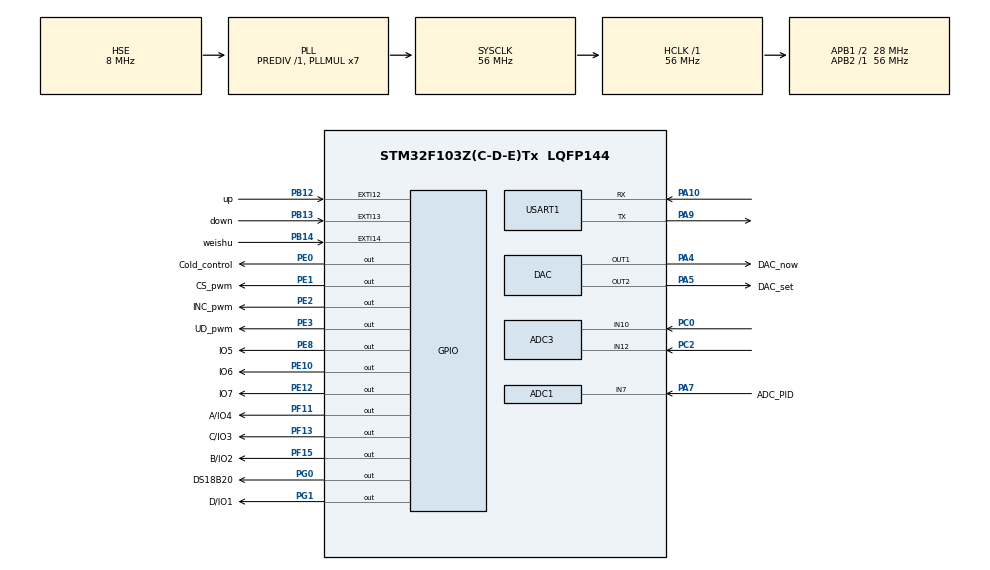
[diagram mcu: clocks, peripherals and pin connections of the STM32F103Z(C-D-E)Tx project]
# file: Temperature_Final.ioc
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ADC1.Channel-16\#ChannelRegularConversion=ADC_CHANNEL_7
ADC1.Channel-17\#ChannelInjectedConversion=ADC_CHANNEL_7
ADC1.ContinuousConvMode=ENABLE
ADC1.DataAlign=ADC_DATAALIGN_RIGHT
ADC1.DiscontinuousConvMode=DISABLE
ADC1.EnableAnalogWatchDog=false
ADC1.EnableRegularConversion=ENABLE
ADC1.ExternalTrigConv=ADC_SOFTWARE_START
ADC1.InjNumberOfConversion=0
ADC1.InjectedOffset-17\#ChannelInjectedConversion=0
ADC1.NbrOfConversion=1
ADC1.NbrOfConversionFlag=1
ADC1.Rank-16\#ChannelRegularConversion=1
ADC1.Rank-17\#ChannelInjectedConversion=1
ADC1.SamplingTime-16\#ChannelRegularConversion=ADC_SAMPLETIME_1CYCLE_5
ADC1.SamplingTime-17\#ChannelInjectedConversion=ADC_SAMPLETIME_7CYCLES_5
ADC1.ScanConvMode=ADC_SCAN_DISABLE
ADC1.master=1
ADC3.Channel-0\#ChannelRegularConversion=ADC_CHANNEL_10
ADC3.Channel-1\#ChannelRegularConversion=ADC_CHANNEL_12
ADC3.ContinuousConvMode=ENABLE
ADC3.DataAlign=ADC_DATAALIGN_RIGHT
ADC3.DiscontinuousConvMode=DISABLE
ADC3.EnableAnalogWatchDog=false
ADC3.EnableRegularConversion=ENABLE
ADC3.ExternalTrigConv=ADC_SOFTWARE_START
ADC3.InjNumberOfConversion=0
ADC3.NbrOfConversion=2
ADC3.NbrOfConversionFlag=1
ADC3.Rank-0\#ChannelRegularConversion=1
ADC3.Rank-1\#ChannelRegularConversion=2
ADC3.SamplingTime-0\#ChannelRegularConversion=ADC_SAMPLETIME_7CYCLES_5
ADC3.SamplingTime-1\#ChannelRegularConversion=ADC_SAMPLETIME_7CYCLES_5
ADC3.ScanConvMode=ADC_SCAN_ENABLE
Dma.ADC1.2.Direction=DMA_PERIPH_TO_MEMORY
Dma.ADC1.2.Instance=DMA1_Channel1
Dma.ADC1.2.MemDataAlignment=DMA_MDATAALIGN_WORD
Dma.ADC1.2.MemInc=DMA_MINC_ENABLE
Dma.ADC1.2.Mode=DMA_CIRCULAR
Dma.ADC1.2.PeriphDataAlignment=DMA_PDATAALIGN_WORD
Dma.ADC1.2.PeriphInc=DMA_PINC_DISABLE
Dma.ADC1.2.Priority=DMA_PRIORITY_LOW
Dma.ADC3.3.Direction=DMA_PERIPH_TO_MEMORY
Dma.ADC3.3.Instance=DMA2_Channel5
Dma.ADC3.3.MemDataAlignment=DMA_MDATAALIGN_WORD
Dma.ADC3.3.MemInc=DMA_MINC_ENABLE
Dma.ADC3.3.Mode=DMA_CIRCULAR
Dma.ADC3.3.PeriphDataAlignment=DMA_PDATAALIGN_WORD
Dma.ADC3.3.PeriphInc=DMA_PINC_DISABLE
Dma.ADC3.3.Priority=DMA_PRIORITY_LOW
Dma.Request0=USART1_RX
Dma.Request1=USART1_TX
Dma.Request2=ADC1
Dma.Request3=ADC3
Dma.USART1_RX.0.Direction=DMA_PERIPH_TO_MEMORY
Dma.USART1_RX.0.Instance=DMA1_Channel5
Dma.USART1_RX.0.MemDataAlignment=DMA_MDATAALIGN_BYTE
Dma.USART1_RX.0.MemInc=DMA_MINC_ENABLE
Dma.USART1_RX.0.Mode=DMA_NORMAL
Dma.USART1_RX.0.PeriphDataAlignment=DMA_PDATAALIGN_BYTE
Dma.USART1_RX.0.PeriphInc=DMA_PINC_DISABLE
Dma.USART1_RX.0.Priority=DMA_PRIORITY_LOW
Dma.USART1_TX.1.Direction=DMA_MEMORY_TO_PERIPH
Dma.USART1_TX.1.Instance=DMA1_Channel4
Dma.USART1_TX.1.MemDataAlignment=DMA_MDATAALIGN_BYTE
Dma.USART1_TX.1.MemInc=DMA_MINC_ENABLE
Dma.USART1_TX.1.Mode=DMA_NORMAL
Dma.USART1_TX.1.PeriphDataAlignment=DMA_PDATAALIGN_BYTE
Dma.USART1_TX.1.PeriphInc=DMA_PINC_DISABLE
Dma.USART1_TX.1.Priority=DMA_PRIORITY_LOW
Mcu.Family=STM32F1
Mcu.Name=STM32F103Z(C-D-E)Tx
Mcu.Package=LQFP144
NVIC.DMA1_Channel1_IRQn=true\:0\:0\:false\:false\:true\:false
NVIC.DMA1_Channel4_IRQn=true\:1\:0\:true\:true\:true\:3\:false
NVIC.DMA1_Channel5_IRQn=true\:1\:0\:true\:true\:true\:1\:false
NVIC.DMA2_Channel4_5_IRQn=true\:0\:0\:false\:false\:true\:false
NVIC.EXTI15_10_IRQn=true\:0\:0\:false\:false\:true\:true
NVIC.PriorityGroup=NVIC_PRIORITYGROUP_4
NVIC.TIM2_IRQn=true\:0\:0\:true\:true\:true\:4\:true
NVIC.USART1_IRQn=true\:1\:0\:true\:true\:true\:2\:true
OSC_IN.Mode=HSE-External-Oscillator
OSC_IN.Signal=RCC_OSC_IN
OSC_OUT.Mode=HSE-External-Oscillator
OSC_OUT.Signal=RCC_OSC_OUT
PA10.Mode=Asynchronous
PA10.Signal=USART1_RX
PA13.Mode=Serial_Wire
PA13.Signal=SYS_JTMS-SWDIO
PA14.Mode=Serial_Wire
PA14.Signal=SYS_JTCK-SWCLK
PA4.GPIO_Label=DAC_now
PA4.Signal=COMP_DAC1_group
PA5.GPIO_Label=DAC_set
PA5.Signal=COMP_DAC2_group
PA7.GPIO_Label=ADC_PID
PA7.Signal=ADCx_IN7
PA9.Mode=Asynchronous
PA9.Signal=USART1_TX
PB12.GPIO_Label=up
PB12.Signal=GPXTI12
PB13.GPIO_Label=down
PB13.Signal=GPXTI13
PB14.GPIO_Label=weishu
PB14.Signal=GPXTI14
PC0.Signal=ADCx_IN10
PC2.Signal=ADCx_IN12
PE0.GPIO_Label=Cold_control
PE0.Signal=GPIO_Output
PE1.GPIO_Label=CS_pwm
PE1.Signal=GPIO_Output
PE10.GPIO_Label=IO6
PE10.Signal=GPIO_Output
PE12.GPIO_Label=IO7
PE12.Signal=GPIO_Output
PE2.GPIO_Label=INC_pwm
PE2.Signal=GPIO_Output
PE3.GPIO_Label=UD_pwm
PE3.Signal=GPIO_Output
PE8.GPIO_Label=IO5
PE8.Signal=GPIO_Output
PF11.GPIO_Label=A/IO4
PF11.Signal=GPIO_Output
PF13.GPIO_Label=C/IO3
PF13.Signal=GPIO_Output
PF15.GPIO_Label=B/IO2
PF15.Signal=GPIO_Output
PG0.GPIO_Label=DS18B20
PG0.Signal=GPIO_Output
PG1.GPIO_Label=D/IO1
PG1.Signal=GPIO_Output
ProjectManager.HeapSize=0x200
ProjectManager.StackSize=0x400
ProjectManager.TargetToolchain=MDK-ARM V4
RCC.ADCPresc=RCC_ADCPCLK2_DIV4
RCC.AHBFreq_Value=56000000
RCC.APB1CLKDivider=RCC_HCLK_DIV2
RCC.APB1Freq_Value=28000000
RCC.APB1TimFreq_Value=56000000
RCC.APB2Freq_Value=56000000
RCC.APB2TimFreq_Value=56000000
RCC.HCLKFreq_Value=56000000
RCC.PLLMUL=RCC_PLL_MUL7
RCC.PLLSourceVirtual=RCC_PLLSOURCE_HSE
RCC.SYSCLKFreq_VALUE=56000000
RCC.SYSCLKSource=RCC_SYSCLKSOURCE_PLLCLK
RCC.USBFreq_Value=56000000
SH.ADCx_IN10.0=ADC3_IN10,IN10
SH.ADCx_IN12.0=ADC3_IN12,IN12
SH.ADCx_IN7.0=ADC1_IN7,IN7
SH.COMP_DAC1_group.0=DAC_OUT1,DAC_OUT1
SH.COMP_DAC2_group.0=DAC_OUT2,DAC_OUT2
TIM2.Period=5000
TIM2.Prescaler=5600-1
USART1.VirtualMode=VM_ASYNC
VP_TIM2_VS_ClockSourceINT.Mode=Internal
board=Temperature_Final

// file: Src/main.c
/**
  ******************************************************************************
  * File Name          : main.c
  * Description        : Main program body
  ******************************************************************************
  ** This notice applies to any and all portions of this file
  * that are not between comment pairs USER CODE BEGIN and
  * USER CODE END. Other portions of this file, whether
  * inserted by the user or by software development tools
  * are owned by their respective copyright owners.
  *
  * COPYRIGHT(c) 2018 STMicroelectronics
  *
  * Redistribution and use in source and binary forms, with or without modification,
  * are permitted provided that the following conditions are met:
  *   1. Redistributions of source code must retain the above copyright notice,
  *      this list of conditions and the following disclaimer.
  *   2. Redistributions in binary form must reproduce the above copyright notice,
  *      this list of conditions and the following disclaimer in the documentation
  *      and/or other materials provided with the distribution.
  *   3. Neither the name of STMicroelectronics nor the names of its contributors
  *      may be used to endorse or promote products derived from this software
  *      without specific prior written permission.
  *
  * THIS SOFTWARE IS PROVIDED BY THE COPYRIGHT HOLDERS AND CONTRIBUTORS "AS IS"
  * AND ANY EXPRESS OR IMPLIED WARRANTIES, INCLUDING, BUT NOT LIMITED TO, THE
  * IMPLIED WARRANTIES OF MERCHANTABILITY AND FITNESS FOR A PARTICULAR PURPOSE ARE
  * DISCLAIMED. IN NO EVENT SHALL THE COPYRIGHT HOLDER OR CONTRIBUTORS BE LIABLE
  * FOR ANY DIRECT, INDIRECT, INCIDENTAL, SPECIAL, EXEMPLARY, OR CONSEQUENTIAL
  * DAMAGES (INCLUDING, BUT NOT LIMITED TO, PROCUREMENT OF SUBSTITUTE GOODS OR
  * SERVICES; LOSS OF USE, DATA, OR PROFITS; OR BUSINESS INTERRUPTION) HOWEVER
  * CAUSED AND ON ANY THEORY OF LIABILITY, WHETHER IN CONTRACT, STRICT LIABILITY,
  * OR TORT (INCLUDING NEGLIGENCE OR OTHERWISE) ARISING IN ANY WAY OUT OF THE USE
  * OF THIS SOFTWARE, EVEN IF ADVISED OF THE POSSIBILITY OF SUCH DAMAGE.
  *
  ******************************************************************************
  */

#include "main.h"
#include "stm32f1xx_hal.h"
#include "adc.h"
#include "dac.h"
#include "dma.h"
#include "tim.h"
#include "usart.h"
#include "gpio.h"

/* USER CODE BEGIN Includes */
#include "math.h"
#include "stdio.h"
#include "stdlib.h"
#include "ds18b20.h"
/* USER CODE END Includes */

/* USER CODE BEGIN PV */
/* Private variables ---------------------------------------------------------*/
	uint8_t aTxStartMessage[] = "\r\n****Connected to STM32 successfully :) ****\r\nPlease set temperature by your phone :\r\n";
	double_t tempr_set;
	double_t tempr_now; //set temperature
	double_t tempr_18b20; //ds18b20
	double_t lightening_number;  //used for choosing value to light
	double count;  //used for light 3min
	#define BUFFERSIZE 10
	uint8_t ReceiveBuff[BUFFERSIZE];
	uint8_t SendBuff[BUFFERSIZE];  //for send message to phone

	uint8_t recv_end_flag = 0,Rx_len;
	/* Buffer used for reception */
	uint8_t SettemMessage1[]="\r\n***You have set temperature =  ";
	uint8_t SettemMessage2[]="  ℃	****\r\n";

	uint8_t StateMessage1[]="\r\n***Temperature now =   ";
	uint8_t StateMessage2[]="  ℃	****\r\n";

	uint8_t ds18b20message[]="DS18B20 Check Failed!\r\n";
//	uint8_t aRxBuffer[10];
	int tag;
	int temp;
	int dac_number;

	/*for change x9312*/
	int R_set;  //0-100
	int R_now;  //0-100

	/* for ADC*/
	uint32_t ADC_PID[50];
	uint8_t i;
	double ad_pid;

	/*for pt100 ADC*/
	uint32_t ADC_PT100[100];
	double ad_pt100_low,ad_pt100_high;
	double pt100;

/* USER CODE END PV */

void SystemClock_Config(void);
static void MX_NVIC_Init(void);

/* USER CODE BEGIN PFP */
/* Private function prototypes -----------------------------------------------*/
void uartdamget(void);
#ifdef __GNUC__
#define PUTCHAR_PROTOTYPE int __io_putchar(int ch)
#else
#define PUTCHAR_PROTOTYPE int fputc(int ch, FILE *f)
#endif
PUTCHAR_PROTOTYPE
{
        HAL_UART_Transmit(&huart1 , (uint8_t *)&ch, 1, 0xFFFF);
return ch;
}

void ecvt (double_t,uint8_t* );  //used for transfer number to char

void* memset(void*,int,unsigned int);

void Light(uint16_t);
void light_number( double_t n);
void set_dac_value (double_t t,uint32_t channel); //for transfer temperature to dac value and start dac

void init_x9312(void); //for x9312
void set_PWM_R(int set); //change X9312
/* USER CODE END PFP */

int main(void)
{

  /* USER CODE BEGIN 1 */
	tempr_set=75.0; //design for light number

	tempr_now=60; //used for show temperature now

	count=0;
	lightening_number=tempr_set;  //initial

	tag=0;	//design for twlinking
	temp=0;	//design for choose weishu

	R_set=0;
	R_now=0;
  /* USER CODE END 1 */

  /* MCU Configuration----------------------------------------------------------*/

  /* Reset of all peripherals, Initializes the Flash interface and the Systick. */
  HAL_Init();

  /* Configure the system clock */
  SystemClock_Config();

  /* Initialize all configured peripherals */
  MX_GPIO_Init();
  MX_DMA_Init();
  MX_USART1_UART_Init();
  MX_TIM2_Init();
  MX_DAC_Init();
  MX_ADC1_Init();
  MX_ADC3_Init();

  /* Initialize interrupts */
  MX_NVIC_Init();

  /* USER CODE BEGIN 2 */
		HAL_Delay(100);

		__HAL_UART_ENABLE_IT(&huart1,UART_IT_IDLE);  //使能串口1idle中断

		HAL_UART_Transmit_IT(&huart1, (uint8_t *)aTxStartMessage, sizeof(aTxStartMessage));
		HAL_UART_Receive_DMA(&huart1,(uint8_t*)ReceiveBuff,BUFFERSIZE);

		HAL_TIM_Base_Start_IT(&htim2);

		HAL_GPIO_WritePin(IO5_GPIO_Port,IO5_Pin,GPIO_PIN_SET);

		set_dac_value (tempr_set,DAC_CHANNEL_2);

		HAL_ADC_Start_DMA(&hadc1,(uint32_t*)&ADC_PID,50); //for adc
		HAL_ADC_Start_DMA(&hadc3,(uint32_t*)&ADC_PT100,100); //for pt100

		HAL_GPIO_WritePin(Cold_control_GPIO_Port,Cold_control_Pin,GPIO_PIN_RESET); //for cold

		/*ds18b20*/
		while(DS18B20_Init())
		{
			HAL_UART_Transmit(&huart1,(uint8_t*)ds18b20message,sizeof(ds18b20message),100);
			HAL_Delay (500);
		}
		/*x9312*/
		init_x9312();

		tempr_set=75;
		HAL_Delay(200);
  /* USER CODE END 2 */

  /* Infinite loop */
  while (1)
  {

  /* USER CODE BEGIN 3 */
		light_number(lightening_number);
		uartdamget();
		 if(tempr_now<tempr_set)
		{
		set_dac_value (tempr_now,DAC_CHANNEL_1);
		set_PWM_R(R_set+55);
		}
		else
		{
		set_dac_value (tempr_set,DAC_CHANNEL_1);
			set_PWM_R(0);
		}

//		set_PWM_R(R_set);
  }
  /* USER CODE END 3 */

}

/** System Clock Configuration
*/
void SystemClock_Config(void)
{

  RCC_OscInitTypeDef RCC_OscInitStruct;
  RCC_ClkInitTypeDef RCC_ClkInitStruct;
  RCC_PeriphCLKInitTypeDef PeriphClkInit;

    /**Initializes the CPU, AHB and APB busses clocks
    */
  RCC_OscInitStruct.OscillatorType = RCC_OSCILLATORTYPE_HSE;
  RCC_OscInitStruct.HSEState = RCC_HSE_ON;
  RCC_OscInitStruct.HSEPredivValue = RCC_HSE_PREDIV_DIV1;
  RCC_OscInitStruct.HSIState = RCC_HSI_ON;
  RCC_OscInitStruct.PLL.PLLState = RCC_PLL_ON;
  RCC_OscInitStruct.PLL.PLLSource = RCC_PLLSOURCE_HSE;
  RCC_OscInitStruct.PLL.PLLMUL = RCC_PLL_MUL7;
  if (HAL_RCC_OscConfig(&RCC_OscInitStruct) != HAL_OK)
  {
    _Error_Handler(__FILE__, __LINE__);
  }

    /**Initializes the CPU, AHB and APB busses clocks
    */
  RCC_ClkInitStruct.ClockType = RCC_CLOCKTYPE_HCLK|RCC_CLOCKTYPE_SYSCLK
                              |RCC_CLOCKTYPE_PCLK1|RCC_CLOCKTYPE_PCLK2;
  RCC_ClkInitStruct.SYSCLKSource = RCC_SYSCLKSOURCE_PLLCLK;
  RCC_ClkInitStruct.AHBCLKDivider = RCC_SYSCLK_DIV1;
  RCC_ClkInitStruct.APB1CLKDivider = RCC_HCLK_DIV2;
  RCC_ClkInitStruct.APB2CLKDivider = RCC_HCLK_DIV1;

  if (HAL_RCC_ClockConfig(&RCC_ClkInitStruct, FLASH_LATENCY_2) != HAL_OK)
  {
    _Error_Handler(__FILE__, __LINE__);
  }

  PeriphClkInit.PeriphClockSelection = RCC_PERIPHCLK_ADC;
  PeriphClkInit.AdcClockSelection = RCC_ADCPCLK2_DIV4;
  if (HAL_RCCEx_PeriphCLKConfig(&PeriphClkInit) != HAL_OK)
  {
    _Error_Handler(__FILE__, __LINE__);
  }

    /**Configure the Systick interrupt time
    */
  HAL_SYSTICK_Config(HAL_RCC_GetHCLKFreq()/1000);

    /**Configure the Systick
    */
  HAL_SYSTICK_CLKSourceConfig(SYSTICK_CLKSOURCE_HCLK);

  /* SysTick_IRQn interrupt configuration */
  HAL_NVIC_SetPriority(SysTick_IRQn, 0, 0);
}

/** NVIC Configuration
*/
static void MX_NVIC_Init(void)
{
  /* DMA1_Channel5_IRQn interrupt configuration */
  HAL_NVIC_SetPriority(DMA1_Channel5_IRQn, 1, 0);
  HAL_NVIC_EnableIRQ(DMA1_Channel5_IRQn);
  /* USART1_IRQn interrupt configuration */
  HAL_NVIC_SetPriority(USART1_IRQn, 1, 0);
  HAL_NVIC_EnableIRQ(USART1_IRQn);
  /* DMA1_Channel4_IRQn interrupt configuration */
  HAL_NVIC_SetPriority(DMA1_Channel4_IRQn, 1, 0);
  HAL_NVIC_EnableIRQ(DMA1_Channel4_IRQn);
  /* TIM2_IRQn interrupt configuration */
  HAL_NVIC_SetPriority(TIM2_IRQn, 0, 0);
  HAL_NVIC_EnableIRQ(TIM2_IRQn);
}

/* USER CODE BEGIN 4 */
void set_dac_value (double_t t,uint32_t channel)
{
	if(t<=110&&t>=40)
	{
	dac_number=(int)(((t-40)*4095)/70);
	HAL_DAC_SetValue(&hdac, channel,DAC_ALIGN_12B_R,dac_number);
	HAL_DAC_Start(&hdac,channel);
	}
	else if(t<=40)
	{
	dac_number=(int)(0);
	HAL_DAC_SetValue(&hdac, channel,DAC_ALIGN_12B_R,dac_number);
	HAL_DAC_Start(&hdac,channel);
	}
	else if(t>=110)
	{
	dac_number=(int)(4095);
	HAL_DAC_SetValue(&hdac, channel,DAC_ALIGN_12B_R,dac_number);
	HAL_DAC_Start(&hdac,channel);
	}
}

void light_number( double_t n)
{
int a,b,c,d;
	n=n*10;
	a=(int)n/1000;
	n=n-a*1000;
	b=(int)n/100;
	n=n-b*100;
	c=(int)n/10;
	d=(int)n-c*10;
	if(tag!=1)
	{
		HAL_GPIO_WritePin(IO6_GPIO_Port ,IO6_Pin,GPIO_PIN_RESET);
		HAL_GPIO_WritePin(IO7_GPIO_Port ,IO7_Pin,GPIO_PIN_RESET);
		Light(a);
	}
	if(tag!=2)
	{
		HAL_GPIO_WritePin(IO6_GPIO_Port ,IO6_Pin,GPIO_PIN_SET);
		HAL_GPIO_WritePin(IO7_GPIO_Port ,IO7_Pin,GPIO_PIN_RESET);
		Light(b);
	}
	if(tag!=3)
	{
		HAL_GPIO_WritePin(IO6_GPIO_Port ,IO6_Pin,GPIO_PIN_RESET);
		HAL_GPIO_WritePin(IO7_GPIO_Port ,IO7_Pin,GPIO_PIN_SET);
		Light(c);
	}

	if(tag!=4)
	{
		HAL_GPIO_WritePin(IO6_GPIO_Port ,IO6_Pin,GPIO_PIN_SET);
		HAL_GPIO_WritePin(IO7_GPIO_Port ,IO7_Pin,GPIO_PIN_SET);
		Light(d);
	}
}

void uartdamget(void)
	{
		if(recv_end_flag==1)
		{
			HAL_UART_Transmit(&huart1,(uint8_t*)SettemMessage1,sizeof(SettemMessage1),100);
			tempr_set=atof((char*)ReceiveBuff);  //changed

//			if(tempr_now<tempr_set)
		{
			set_dac_value(tempr_set,DAC_CHANNEL_2);//for dac setting voltage
		}

			ecvt(tempr_set,(uint8_t*)SendBuff);
			HAL_UART_Transmit(&huart1,(uint8_t*)SendBuff,sizeof(SendBuff),100);

			HAL_UART_Transmit(&huart1,(uint8_t*)SettemMessage2,sizeof(SettemMessage2),100);
			memset(SendBuff,0,8);

			count=6;  //used for light 3min

			memset(ReceiveBuff,0,BUFFERSIZE);

		recv_end_flag=0;
		HAL_UART_Receive_DMA(&huart1,(uint8_t*)ReceiveBuff,BUFFERSIZE);

		}
	}
	/*按键部分*/
	void HAL_GPIO_EXTI_Callback(uint16_t GPIO_Pin)
{
	if(GPIO_Pin==weishu_Pin)
	{
		temp++;
		if(temp>4)
		{
			temp=0;
			count=6;   //used for show set number
		}
	}
	else if(GPIO_Pin==up_Pin&&temp!=0)
	{
		tempr_set=tempr_set+pow(10,3-temp);
	}
	else if(GPIO_Pin==down_Pin&&temp!=0&&tempr_set!=0)
	{
		tempr_set=tempr_set-pow(10,3-temp);
		if(tempr_set<0)
				tempr_set=0;
	}
		/*for setting dac value*/
//		 if(tempr_now<tempr_set)
		{
			set_dac_value(tempr_set,DAC_CHANNEL_2);//for dac setting voltage
		}
}
	void ecvt (double_t a,uint8_t*b )  //used for transfer number to ch
{
	double_t g;
	int c,d,e,f,h;
	g=a*1000;
	c=g/100000;
	g=g-c*100000;
	d=g/10000;
	g=g-d*10000;
	e=g/1000;
	g=g-1000*e;
	f=g/100;
	g=g-100*f;
	h=g/10;
	g=g-h*10;
	b[0]=c+'0';
	b[1]=d+'0';
	b[2]=e+'0';
	b[3]='.';
	b[4]=f+'0';
	b[5]=' ';
	b[6]=' ';
//	b[7]=' ';
//	b[8]=' ';
//	b[9]=0;

		if(b[0]=='0')
		{
			b[0]=0;
			if(b[1]=='0')
				b[1]=0;
		}
}

void HAL_TIM_PeriodElapsedCallback (TIM_HandleTypeDef* htim)
		{
			if(htim->Instance==htim2.Instance)
			{
				/* for getting PID value now by adc */
				for(i=0,ad_pid=0;i<50;)
				{
					ad_pid = ad_pid+ADC_PID[i];
					i++;
				}
				ad_pid = ad_pid/50;
				ad_pid=ad_pid*3.3/4096;
				R_set=ad_pid*100/3.24;

				if(R_set>100)
					R_set=100;
				else if(R_set<0)
					R_set=0;

				/*for get pt100 value*/
				for(i=0,ad_pt100_low=0,ad_pt100_high=0;i<100;)
				{
						ad_pt100_high += ADC_PT100[i++];
						ad_pt100_low += ADC_PT100[i++];
				}
				ad_pt100_low = ad_pt100_low/50;
				ad_pt100_low=ad_pt100_low*3.3/4096;
				ad_pt100_high = ad_pt100_high/50;
				ad_pt100_high=ad_pt100_high*3.3/4096;

//			ecvt((ad_pt100_high-ad_pt100_low)*100,(uint8_t*)SendBuff);
//			HAL_UART_Transmit(&huart1,(uint8_t*)SendBuff,sizeof(SendBuff),100);
//			memset(SendBuff,0,8); //used for clear SendBuff
//
//			HAL_UART_Transmit(&huart1,(uint8_t*)SettemMessage2,sizeof(SettemMessage2),100);
//			memset(SendBuff,0,8);
//
				tempr_now=(ad_pt100_high-ad_pt100_low)*65.128-4.263+1;
//				tempr_now=DS18B20_Get_Temp();

				/* for blink*/
				if(tag==0)
					tag=temp;
				else
					tag=0;
				/*   used for transfer set temperature*/
			ecvt(tempr_set,(uint8_t*)SendBuff);
			HAL_UART_Transmit(&huart1,(uint8_t*)SendBuff,sizeof(SendBuff),100);
			memset(SendBuff,0,8); //used for clear SendBuff

				/*   used for transfer now temperature*/
			ecvt(tempr_now,(uint8_t*)SendBuff);
			HAL_UART_Transmit(&huart1,(uint8_t*)SendBuff,sizeof(SendBuff),100);
			memset(SendBuff,0,8); //used for clear SendBuff

				/*  used for showing set value */
				if(temp>0&&temp<5)
				{
					lightening_number=tempr_set;
				}
				else if(count>0)
				{
					count=count-1;
					lightening_number=tempr_set;
				}
				else if(count==0)
				{
					lightening_number=tempr_now;
				}

				/*ds18b20*/
				tempr_18b20=DS18B20_Get_Temp();
				/*   used for transfer now temperature*/
				ecvt(tempr_18b20,(uint8_t*)SendBuff);
				HAL_UART_Transmit(&huart1,(uint8_t*)SendBuff,sizeof(SendBuff),100);
				memset(SendBuff,0,8); //used for clear SendBuff
				//
			HAL_UART_Transmit(&huart1,(uint8_t*)SettemMessage2,sizeof(SettemMessage2),100);
			memset(SendBuff,0,8);

			if(tempr_now> (tempr_set+1))
			{
			HAL_GPIO_WritePin(Cold_control_GPIO_Port,Cold_control_Pin,GPIO_PIN_SET);
			set_PWM_R(0);
			}
			else if(tempr_now<tempr_set)
			HAL_GPIO_WritePin(Cold_control_GPIO_Port,Cold_control_Pin,GPIO_PIN_RESET);

			}
//			else if(htim->Instance==htim4.Instance)
//			{
////			for(i=0,ad1=0;i<50;i++)
////				{
////					ad1=ad1+ADC_Value[i];
////				}
////				ad1=ad1/50;     //get pid voltage
////				R_set=ad1*100/3.2;
//			}
		}

/* USER CODE END 4 */

void _Error_Handler(char * file, int line)
{
  while(1)
  {
  }
}

/************************ (C) COPYRIGHT STMicroelectronics *****END OF FILE****/
